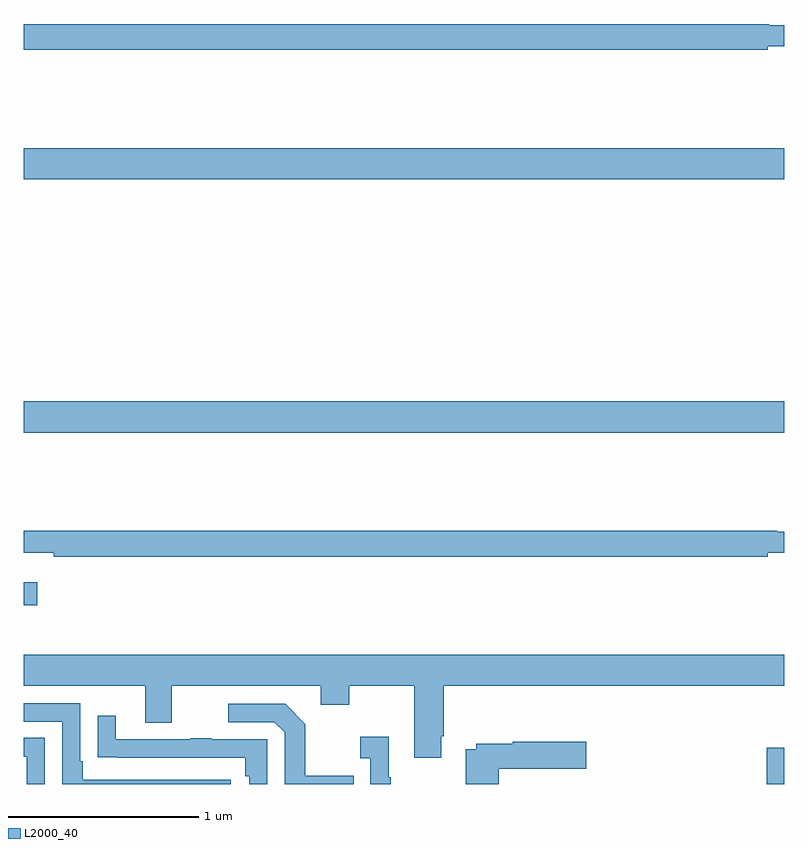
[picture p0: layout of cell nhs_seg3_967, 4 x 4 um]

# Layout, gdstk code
import gdstk
lib = gdstk.Library(unit=1e-6, precision=1e-09)
def R(c, l, rs):  # rectangles x0, y0, x1, y1
    for r in rs: c.add(gdstk.rectangle(r[:2], r[2:], *l))
def P(c, l, *ps):  # polygons
    for p in ps: c.add(gdstk.Polygon(p, *l))
L2000_40 = (2000, 40)

nhs_seg3_967 = lib.new_cell('nhs_seg3_967')
R(nhs_seg3_967, L2000_40, [(164.906,700.4,165,700.591), (161,701.339,161.071,701.461), (161,702.248,165,702.412), (161,703.58,165,703.744)])
P(nhs_seg3_967, L2000_40, [(164.912,704.279),(165,704.279),(165,704.389),(164.92,704.389),(164.92,704.396),(161,704.396),(161,704.26),(164.912,704.26)],
  [(164.912,701.615),(165,701.615),(165,701.725),(164.962,701.725),(164.962,701.732),(161,701.732),(161,701.615),(161.158,701.615),(161.158,701.596),(164.912,701.596)],
  [(161,700.916),(161.639,700.916),(161.639,700.722),(161.779,700.722),(161.779,700.916),(162.563,700.916),(162.563,700.817),(162.711,700.817),(162.711,700.916),(163.055,700.916),(163.055,700.539),(163.195,700.539),(163.195,700.651),(163.208,700.651),(163.208,700.916),(165,700.916),(165,701.08),(161,701.08)],
  [(162.088,700.422),(161.311,700.422),(161.311,700.519),(161.298,700.519),(161.298,700.824),(161,700.824),(161,700.728),(161.202,700.728),(161.202,700.4),(162.088,700.4)],
  [(162.737,700.443),(162.481,700.443),(162.481,700.715),(162.375,700.821),(162.075,700.821),(162.075,700.725),(162.318,700.725),(162.372,700.671),(162.372,700.4),(162.737,700.4)],
  [(162.282,700.635),(161.987,700.635),(161.987,700.64),(161.875,700.64),(161.875,700.635),(161.485,700.635),(161.485,700.759),(161.389,700.759),(161.389,700.54),(161.491,700.54),(161.491,700.539),(162.166,700.539),(162.166,700.442),(162.186,700.442),(162.186,700.4),(162.282,700.4)],
  [(162.931,700.435),(162.919,700.435),(162.919,700.648),(162.771,700.648),(162.771,700.535),(162.822,700.535),(162.822,700.4),(162.931,700.4)],
  [(161.112,700.643),(161,700.643),(161,700.542),(161.016,700.542),(161.016,700.4),(161.112,700.4)],
  [(163.499,700.481),(163.957,700.481),(163.957,700.623),(163.572,700.623),(163.572,700.611),(163.38,700.611),(163.38,700.582),(163.324,700.582),(163.324,700.4),(163.499,700.4)])

lib.write_gds('nhs_seg3_967.gds')
